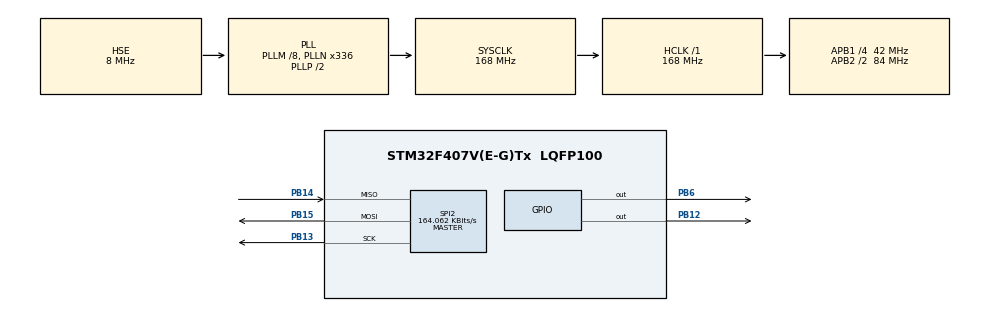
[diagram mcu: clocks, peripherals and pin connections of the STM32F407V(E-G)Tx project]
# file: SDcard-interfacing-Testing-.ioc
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Mcu.Family=STM32F4
Mcu.Name=STM32F407V(E-G)Tx
Mcu.Package=LQFP100
NVIC.PriorityGroup=NVIC_PRIORITYGROUP_0
PA13.Mode=Trace_Asynchronous_SW
PA13.Signal=SYS_JTMS-SWDIO
PA14.Mode=Trace_Asynchronous_SW
PA14.Signal=SYS_JTCK-SWCLK
PB12.GPIO_Speed=GPIO_SPEED_FREQ_VERY_HIGH
PB12.PinState=GPIO_PIN_SET
PB12.Signal=GPIO_Output
PB13.Mode=Full_Duplex_Master
PB13.Signal=SPI2_SCK
PB14.Mode=Full_Duplex_Master
PB14.Signal=SPI2_MISO
PB15.Mode=Full_Duplex_Master
PB15.Signal=SPI2_MOSI
PB3.Mode=Trace_Asynchronous_SW
PB3.Signal=SYS_JTDO-SWO
PB6.GPIO_PuPd=GPIO_PULLUP
PB6.PinState=GPIO_PIN_SET
PB6.Signal=GPIO_Output
PH0-OSC_IN.Mode=HSE-External-Clock-Source
PH0-OSC_IN.Signal=RCC_OSC_IN
PH1-OSC_OUT.Mode=HSE-External-Clock-Source
PH1-OSC_OUT.Signal=RCC_OSC_OUT
ProjectManager.HeapSize=0x200
ProjectManager.StackSize=0x400
ProjectManager.TargetToolchain=STM32CubeIDE
RCC.48MHZClocksFreq_Value=48000000
RCC.AHBFreq_Value=168000000
RCC.APB1CLKDivider=RCC_HCLK_DIV4
RCC.APB1Freq_Value=42000000
RCC.APB1TimFreq_Value=84000000
RCC.APB2CLKDivider=RCC_HCLK_DIV2
RCC.APB2Freq_Value=84000000
RCC.APB2TimFreq_Value=168000000
RCC.CortexFreq_Value=168000000
RCC.HCLKFreq_Value=168000000
RCC.HSE_VALUE=8000000
RCC.HSI_VALUE=16000000
RCC.LSE_VALUE=32768
RCC.PLLM=8
RCC.PLLN=336
RCC.PLLQ=7
RCC.PLLSourceVirtual=RCC_PLLSOURCE_HSE
RCC.SYSCLKFreq_VALUE=168000000
RCC.SYSCLKSource=RCC_SYSCLKSOURCE_PLLCLK
RCC.VCOOutputFreq_Value=336000000
SPI2.BaudRatePrescaler=SPI_BAUDRATEPRESCALER_256
SPI2.CalculateBaudRate=164.062 KBits/s
SPI2.Direction=SPI_DIRECTION_2LINES
SPI2.Mode=SPI_MODE_MASTER
SPI2.VirtualType=VM_MASTER
VP_FATFS_VS_Generic.Mode=User_defined
board=STM32F407G-DISC1

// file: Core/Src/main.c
/* USER CODE BEGIN Header */
/**
  ******************************************************************************
  * @file           : main.c
  * @brief          : Main program body
  ******************************************************************************
  * @attention
  *
  * Copyright (c) 2026 STMicroelectronics.
  * All rights reserved.
  *
  * This software is licensed under terms that can be found in the LICENSE file
  * in the root directory of this software component.
  * If no LICENSE file comes with this software, it is provided AS-IS.
  *
  ******************************************************************************
  */
/* USER CODE END Header */
#include "main.h"
#include "fatfs.h"

/* USER CODE BEGIN Includes */
#include <string.h>
#include <stdio.h>
/* USER CODE END Includes */

SPI_HandleTypeDef hspi2;

void SystemClock_Config(void);
static void MX_GPIO_Init(void);
static void MX_SPI2_Init(void);

/* USER CODE BEGIN 0 */
int __io_putchar(int ch) { ITM_SendChar(ch); return ch; }
/* USER CODE END 0 */

int main(void)
{

  /* MCU Configuration--------------------------------------------------------*/

  /* Reset of all peripherals, Initializes the Flash interface and the Systick. */
  HAL_Init();

  /* Configure the system clock */
  SystemClock_Config();

  /* Initialize all configured peripherals */
  MX_GPIO_Init();
  MX_FATFS_Init();
  MX_SPI2_Init();
  /* USER CODE BEGIN 2 */

FATFS fs;
FIL file;
UINT bw;
FRESULT res;

res = f_mount(&fs, "", 1);
printf("Disk Status = %d\r\n", USER_status(0));

printf("f_mount() = %d\r\n", res);

if(res == FR_OK)
{
    res = f_open(&file, "log.txt", FA_CREATE_ALWAYS | FA_WRITE);
    printf("f_open()  = %d\r\n", res);

    if(res == FR_OK)
    {
        char msg[] = "AJ!!!\r\n";

  res = f_write(&file, msg, strlen(msg), &bw);
printf("f_write() = %d\r\n", res);
       printf("Bytes Written = %u\r\n", bw);

        res = f_close(&file);
        printf("f_close() = %d\r\n", res);

        FIL file2;
        UINT br;
        char rbuf[64];
        FRESULT res2;

        memset(rbuf, 0, sizeof(rbuf));

        res2 = f_open(&file2, "log.txt", FA_READ);
        printf("f_open(read) = %d\r\n", res2);

        if(res2 == FR_OK)
        {
            res2 = f_read(&file2, rbuf, sizeof(rbuf) - 1, &br);
            printf("f_read()  = %d\r\n", res2);
            printf("Bytes Read = %u\r\n", br);
            printf("\nData = %s\r\n", rbuf);

            res2 = f_close(&file2);
            printf("f_close() = %d\r\n", res2);
            printf("SD card interfaced successfully!\n");

        }

    }
}

  /* USER CODE END 2 */

  /* Infinite loop */
  while (1)
  {

  }
}

void SystemClock_Config(void)
{
  RCC_OscInitTypeDef RCC_OscInitStruct = {0};
  RCC_ClkInitTypeDef RCC_ClkInitStruct = {0};

  /** Configure the main internal regulator output voltage
  */
  __HAL_RCC_PWR_CLK_ENABLE();
  __HAL_PWR_VOLTAGESCALING_CONFIG(PWR_REGULATOR_VOLTAGE_SCALE1);

  /** Initializes the RCC Oscillators according to the specified parameters
  * in the RCC_OscInitTypeDef structure.
  */
  RCC_OscInitStruct.OscillatorType = RCC_OSCILLATORTYPE_HSE;
  RCC_OscInitStruct.HSEState = RCC_HSE_BYPASS;
  RCC_OscInitStruct.PLL.PLLState = RCC_PLL_ON;
  RCC_OscInitStruct.PLL.PLLSource = RCC_PLLSOURCE_HSE;
  RCC_OscInitStruct.PLL.PLLM = 8;
  RCC_OscInitStruct.PLL.PLLN = 336;
  RCC_OscInitStruct.PLL.PLLP = RCC_PLLP_DIV2;
  RCC_OscInitStruct.PLL.PLLQ = 7;
  if (HAL_RCC_OscConfig(&RCC_OscInitStruct) != HAL_OK)
  {
    Error_Handler();
  }

  /** Initializes the CPU, AHB and APB buses clocks
  */
  RCC_ClkInitStruct.ClockType = RCC_CLOCKTYPE_HCLK|RCC_CLOCKTYPE_SYSCLK
                              |RCC_CLOCKTYPE_PCLK1|RCC_CLOCKTYPE_PCLK2;
  RCC_ClkInitStruct.SYSCLKSource = RCC_SYSCLKSOURCE_PLLCLK;
  RCC_ClkInitStruct.AHBCLKDivider = RCC_SYSCLK_DIV1;
  RCC_ClkInitStruct.APB1CLKDivider = RCC_HCLK_DIV4;
  RCC_ClkInitStruct.APB2CLKDivider = RCC_HCLK_DIV2;

  if (HAL_RCC_ClockConfig(&RCC_ClkInitStruct, FLASH_LATENCY_5) != HAL_OK)
  {
    Error_Handler();
  }
}

static void MX_SPI2_Init(void)
{

  /* SPI2 parameter configuration*/
  hspi2.Instance = SPI2;
  hspi2.Init.Mode = SPI_MODE_MASTER;
  hspi2.Init.Direction = SPI_DIRECTION_2LINES;
  hspi2.Init.DataSize = SPI_DATASIZE_8BIT;
  hspi2.Init.CLKPolarity = SPI_POLARITY_LOW;
  hspi2.Init.CLKPhase = SPI_PHASE_1EDGE;
  hspi2.Init.NSS = SPI_NSS_SOFT;
  hspi2.Init.BaudRatePrescaler = SPI_BAUDRATEPRESCALER_256;
  hspi2.Init.FirstBit = SPI_FIRSTBIT_MSB;
  hspi2.Init.TIMode = SPI_TIMODE_DISABLE;
  hspi2.Init.CRCCalculation = SPI_CRCCALCULATION_DISABLE;
  hspi2.Init.CRCPolynomial = 10;
  if (HAL_SPI_Init(&hspi2) != HAL_OK)
  {
    Error_Handler();
  }

}

static void MX_GPIO_Init(void)
{
  GPIO_InitTypeDef GPIO_InitStruct = {0};

  /* GPIO Ports Clock Enable */
  __HAL_RCC_GPIOH_CLK_ENABLE();
  __HAL_RCC_GPIOB_CLK_ENABLE();
  __HAL_RCC_GPIOA_CLK_ENABLE();

  /*Configure GPIO pin Output Level */
  HAL_GPIO_WritePin(GPIOB, GPIO_PIN_12|GPIO_PIN_6, GPIO_PIN_SET);

  /*Configure GPIO pin : PB12 */
  GPIO_InitStruct.Pin = GPIO_PIN_12;
  GPIO_InitStruct.Mode = GPIO_MODE_OUTPUT_PP;
  GPIO_InitStruct.Pull = GPIO_NOPULL;
  GPIO_InitStruct.Speed = GPIO_SPEED_FREQ_VERY_HIGH;
  HAL_GPIO_Init(GPIOB, &GPIO_InitStruct);

  /*Configure GPIO pin : PB6 */
  GPIO_InitStruct.Pin = GPIO_PIN_6;
  GPIO_InitStruct.Mode = GPIO_MODE_OUTPUT_PP;
  GPIO_InitStruct.Pull = GPIO_PULLUP;
  GPIO_InitStruct.Speed = GPIO_SPEED_FREQ_LOW;
  HAL_GPIO_Init(GPIOB, &GPIO_InitStruct);

}

void Error_Handler(void)
{
  __disable_irq();
  while (1)
  {
  }
}
